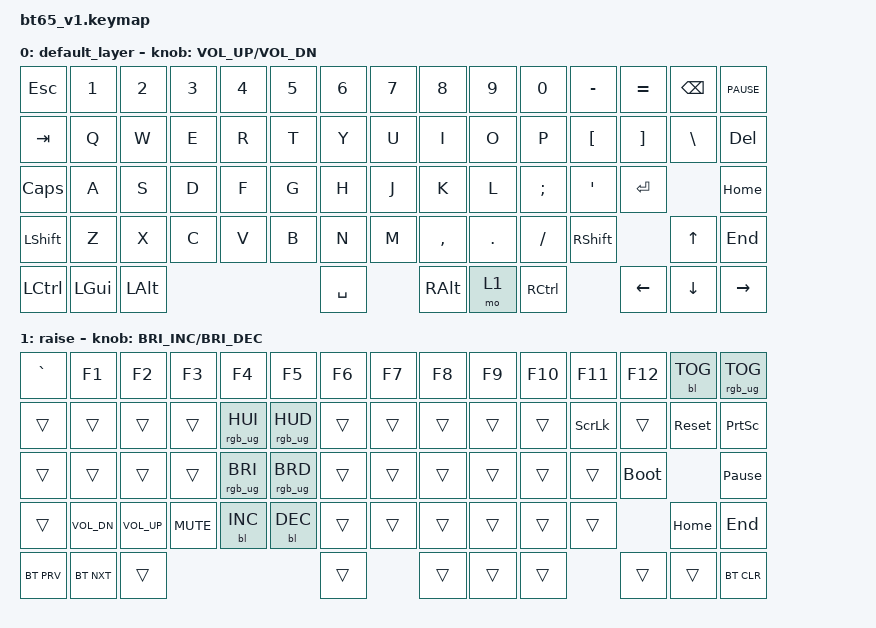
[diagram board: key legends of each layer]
#include <behaviors.dtsi>
#include <dt-bindings/zmk/backlight.h>
#include <dt-bindings/zmk/bt.h>
#include <dt-bindings/zmk/keys.h>
#include <dt-bindings/zmk/rgb.h>

#define ANSI

//#define ISO
//#define ALL_1U
//#define HHKB

/ {
    chosen {
        #ifdef ANSI

        zmk,physical-layout = &layout_65_ansi;

        #elif defined(ISO)

        zmk,physical-layout = &layout_65_iso;

        #elif defined(ALL_1U)

        zmk,physical-layout = &layout_65_all1u;

        #elif defined(HHKB)

        zmk,physical-layout = &layout_65_hhkb;

        #else
  #error "Layout not defined, please define a layout by uncommenting the appropriate line in bt65_v1.keymap"
  #endif
    };

    keymap {
        compatible = "zmk,keymap";

        #ifdef ANSI

        default_layer {
            // ------------------------------------------------------------------------------------------------
            // | ESC |  1  |  2  |  3  |  4  |  5  |  6  |  7  |  8  |  9  |  0  |  -  |  =  |   BSPC   | DEL |
            // | TAB   |  Q  |  W  |  E  |  R  |  T  |  Y  |  U  |  I  |  O  |  P  |  [  |  ]  |   \    | INS |
            // | CAPS   |  A  |  S  |  D  |  F  |  G  |  H  |  J  |  K  |  L  |  ;  |  '  |    ENTER    | PGUP|
            // |  SHIFT   |  Z  |  X  |  C  |  V  |  B  |  N  |  M  |  ,  |  .  |  /  |   SHIFT   | UP  | PGDN|
            // |  CTL  |  WIN  |  ALT  |             SPACE                | ALT |  1  |RCTRL| LEFT| DOWN|RIGHT|
            // ------------------------------------------------------------------------------------------------

            bindings = <
&kp ESC    &kp N1    &kp N2    &kp N3  &kp N4  &kp N5  &kp N6     &kp N7  &kp N8     &kp N9   &kp N0     &kp MINUS  &kp EQUAL  &kp BSPC  &kp C_PAUSE
&kp TAB    &kp Q     &kp W     &kp E   &kp R   &kp T   &kp Y      &kp U   &kp I      &kp O    &kp P      &kp LBKT   &kp RBKT   &kp BSLH  &kp DELETE
&kp CLCK   &kp A     &kp S     &kp D   &kp F   &kp G   &kp H      &kp J   &kp K      &kp L    &kp SEMI   &kp SQT    &kp RET              &kp HOME
&kp LSHFT  &kp Z     &kp X     &kp C   &kp V   &kp B   &kp N      &kp M   &kp COMMA  &kp DOT  &kp FSLH   &kp RSHFT             &kp UP    &kp END
&kp LCTRL  &kp LGUI  &kp LALT                          &kp SPACE          &kp RALT   &mo 1    &kp RCTRL             &kp LEFT   &kp DOWN  &kp RIGHT
            >;

            sensor-bindings = <&inc_dec_kp C_VOL_UP C_VOL_DN>;
        };

        raise {
            // --------------------------------------------------------------------------------------------------
            // |GRAVE| F1  | F2  | F3  | F4  | F5  | F6  | F7  | F8  | F9  | F10 | F11 | F12 |  BL_TOG  |RGB_TOG|
            // | TAB  |  Q  |  W  |  E  | HUI | HUD |  Y  |  U  |  I  |  O  |  P  | SLCK|  ]  |  RESET   | PSCRN|
            // | CAPS  |  A  |  S  |  D  | BRI | BRD |  H  |  J  |  K  |  L  |  ;  |  '  |     BOOT      | P_BRK|
            // |  SHIFT   |VOLDN|VOLUP| MUTE|BLINC|BLDEC|  N  |  M  |  ,  |  .  |  /  |    SHIFT  | HOME |  END |
            // | BT_PRV| BT_NXT|  ALT  |            SPACE               | ALT |  1  | CTRL | LEFT | DOWN |BT_CLR|
            // --------------------------------------------------------------------------------------------------

            bindings = <
&kp GRAVE   &kp F1        &kp F2        &kp F3      &kp F4           &kp F5           &kp F6  &kp F7  &kp F8  &kp F9  &kp F10  &kp F11   &kp F12      &bl BL_TOG  &rgb_ug RGB_TOG
&trans      &trans        &trans        &trans      &rgb_ug RGB_HUI  &rgb_ug RGB_HUD  &trans  &trans  &trans  &trans  &trans   &kp SLCK  &trans       &sys_reset  &kp PSCRN
&trans      &trans        &trans        &trans      &rgb_ug RGB_BRI  &rgb_ug RGB_BRD  &trans  &trans  &trans  &trans  &trans   &trans    &bootloader              &kp PAUSE_BREAK
&trans      &kp C_VOL_DN  &kp C_VOL_UP  &kp C_MUTE  &bl BL_INC       &bl BL_DEC       &trans  &trans  &trans  &trans  &trans   &trans                 &kp HOME    &kp END
&bt BT_PRV  &bt BT_NXT    &trans                                                      &trans          &trans  &trans  &trans             &trans       &trans      &bt BT_CLR
            >;

            sensor-bindings = <&inc_dec_kp C_BRIGHTNESS_INC C_BRIGHTNESS_DEC>;
        };

        #elif defined(ISO)
    #elif defined(ALL_1U)
    #elif defined(HHKB)
    #else
    #error "Layout not defined, please define a layout by uncommenting the appropriate line in bt65_v1.keymap"
    #

        endif
    };
};
